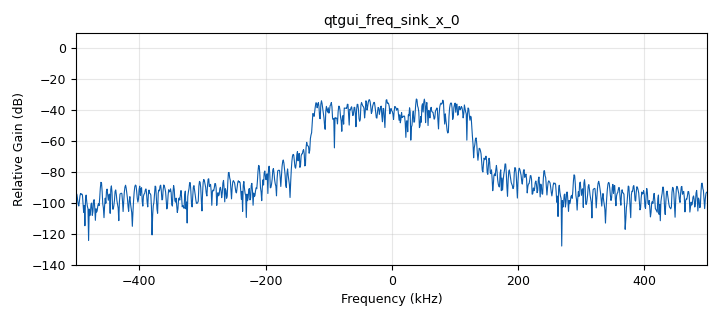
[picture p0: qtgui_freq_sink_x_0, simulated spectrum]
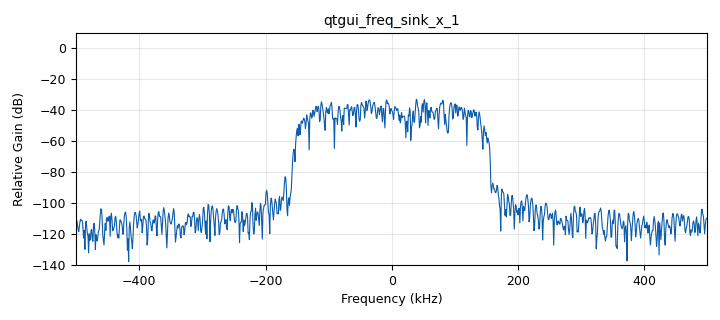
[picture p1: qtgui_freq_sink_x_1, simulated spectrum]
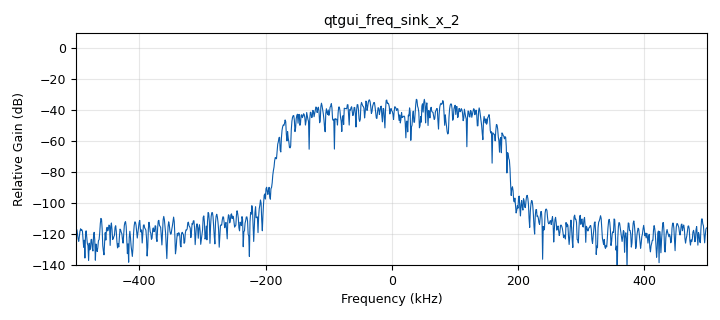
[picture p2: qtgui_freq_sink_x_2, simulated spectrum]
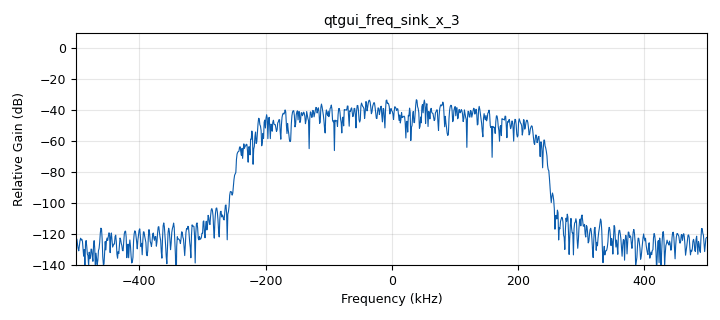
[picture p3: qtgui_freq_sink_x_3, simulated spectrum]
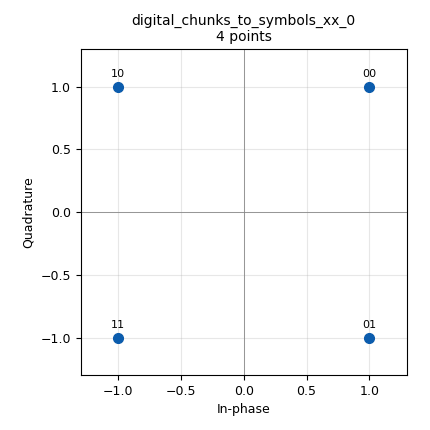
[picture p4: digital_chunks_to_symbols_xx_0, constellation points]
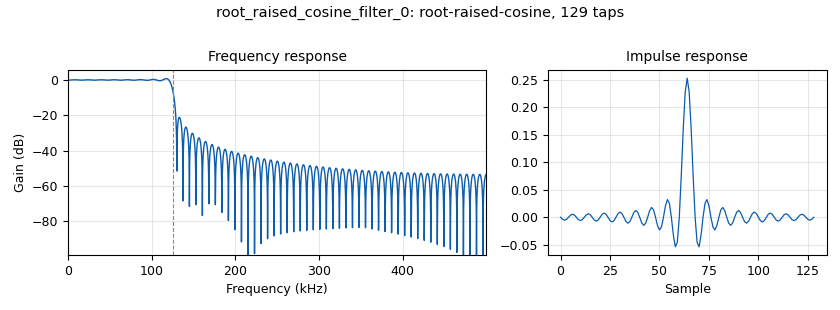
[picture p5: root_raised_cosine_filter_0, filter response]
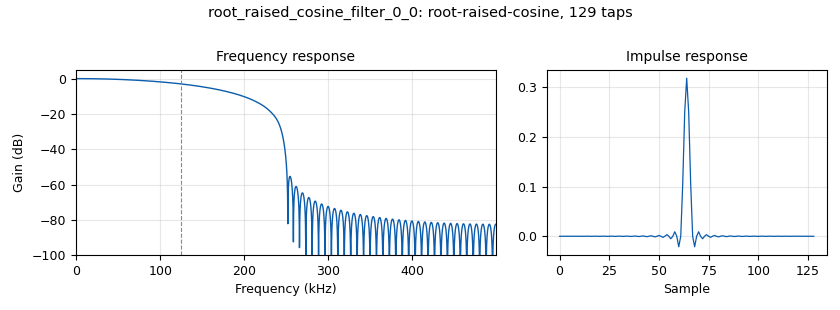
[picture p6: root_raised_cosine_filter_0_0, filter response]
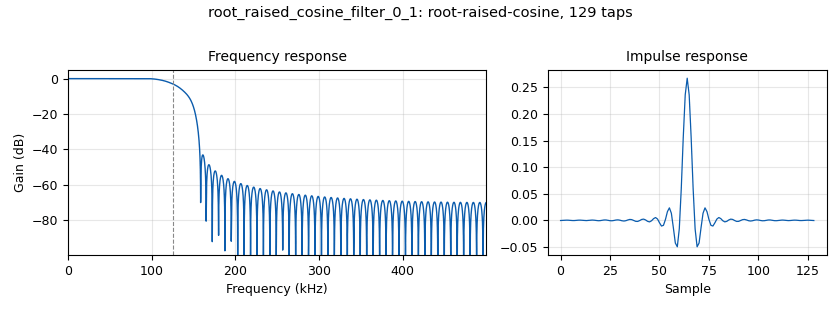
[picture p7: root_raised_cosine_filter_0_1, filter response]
options:
  parameters:
    generate_options: qt_gui
    id: QPSK_RRC
    output_language: python
    title: QPSK_RRC
  states: {}

blocks:
- name: excess_bw
  id: variable
  parameters:
    value: '0.1'
  states: {}
- name: samp_rate
  id: variable
  parameters:
    value: 1e6
  states: {}
- name: sps
  id: variable
  parameters:
    value: '4'
  states: {}
- name: sym_map
  id: variable
  parameters:
    value: '[1+1j,1-1j,-1+1j,-1-1j]'
  states: {}
- name: analog_random_source_x_0
  id: analog_random_source_x
  parameters:
    max: '4'
    min: '0'
    num_samps: '100000'
    repeat: 'True'
    type: byte
  states: {}
- name: blocks_char_to_float_2
  id: blocks_char_to_float
  parameters:
    scale: '1'
  states: {}
- name: blocks_float_to_int_0
  id: blocks_float_to_int
  parameters:
    scale: '1'
  states: {}
- name: blocks_throttle2_0_0
  id: blocks_throttle2
  parameters:
    samples_per_second: samp_rate/sps
    type: complex
  states: {}
- name: digital_chunks_to_symbols_xx_0
  id: digital_chunks_to_symbols_xx
  parameters:
    dimension: '1'
    in_type: int
    out_type: complex
    symbol_table: sym_map
  states: {}
- name: interp_fir_filter_xxx_0
  id: interp_fir_filter_xxx
  parameters:
    interp: sps
    taps: '[1,0,0,0]'
    type: ccc
  states: {}
- name: qtgui_eye_sink_x_0
  id: qtgui_eye_sink_x
  parameters:
    color2: red
    grid: 'True'
    gui_hint: 0,0,1,1
    label1: Real Delay 0
    label2: Imag Delay 0
    samp_per_symbol: sps
    size: '1024'
    srate: samp_rate
    type: complex
  states: {state: disabled}
- name: qtgui_eye_sink_x_0_0
  id: qtgui_eye_sink_x
  parameters:
    color2: red
    grid: 'True'
    gui_hint: 0,1,1,1
    label1: Real Delay 1
    label2: Imag Delay 1
    samp_per_symbol: sps
    size: '1024'
    srate: samp_rate
    type: complex
  states: {state: disabled}
- name: qtgui_eye_sink_x_0_1
  id: qtgui_eye_sink_x
  parameters:
    color2: red
    grid: 'True'
    gui_hint: 1,0,1,1
    label1: Real Delay 2
    label2: Imag Delay 2
    samp_per_symbol: sps
    size: '1024'
    srate: samp_rate
    type: complex
  states: {state: disabled}
- name: qtgui_eye_sink_x_0_2
  id: qtgui_eye_sink_x
  parameters:
    color2: red
    grid: 'True'
    gui_hint: 1,1,1,1
    label1: Real Delay 3
    label2: Imag Delay 3
    samp_per_symbol: sps
    size: '1024'
    srate: samp_rate
    type: complex
  states: {state: disabled}
- name: qtgui_freq_sink_x_0
  id: qtgui_freq_sink_x
  parameters:
    bw: samp_rate
    fc: '0'
    fftsize: '1024'
    gui_hint: 0,0,1,1
    type: complex
  states: {}
- name: qtgui_freq_sink_x_1
  id: qtgui_freq_sink_x
  parameters:
    bw: samp_rate
    fc: '0'
    fftsize: '1024'
    gui_hint: 0,1,1,1
    type: complex
  states: {}
- name: qtgui_freq_sink_x_2
  id: qtgui_freq_sink_x
  parameters:
    bw: samp_rate
    fc: '0'
    fftsize: '1024'
    gui_hint: 1,0,1,1
    type: complex
  states: {}
- name: qtgui_freq_sink_x_3
  id: qtgui_freq_sink_x
  parameters:
    bw: samp_rate
    fc: '0'
    fftsize: '1024'
    gui_hint: 1,1,1,1
    type: complex
  states: {}
- name: root_raised_cosine_filter_0
  id: root_raised_cosine_filter
  parameters:
    alpha: '0.001'
    decim: '1'
    gain: '1'
    ntaps: '128'
    samp_rate: samp_rate
    sym_rate: samp_rate/sps
    type: fir_filter_ccf
  states: {}
- name: root_raised_cosine_filter_0_0
  id: root_raised_cosine_filter
  parameters:
    alpha: '1'
    decim: '1'
    gain: '1'
    ntaps: '128'
    samp_rate: samp_rate
    sym_rate: samp_rate/sps
    type: fir_filter_ccf
  states: {}
- name: root_raised_cosine_filter_0_1
  id: root_raised_cosine_filter
  parameters:
    alpha: '0.25'
    decim: '1'
    gain: '1'
    ntaps: '128'
    samp_rate: samp_rate
    sym_rate: samp_rate/sps
    type: fir_filter_ccf
  states: {}
- name: root_raised_cosine_filter_0_2
  id: root_raised_cosine_filter
  parameters:
    alpha: '0.5'
    decim: '1'
    gain: '1'
    ntaps: '128'
    samp_rate: samp_rate
    sym_rate: samp_rate/sps
    type: fir_filter_ccf
  states: {}
- name: virtual_sink_0
  id: virtual_sink
  parameters:
    stream_id: send_symbol
  states: {}
- name: virtual_sink_2_0
  id: virtual_sink
  parameters:
    stream_id: send_receive
  states: {}
- name: virtual_source_0_0_1_0
  id: virtual_source
  parameters:
    stream_id: send_receive
  states: {}

connections:
- [analog_random_source_x_0, '0', blocks_char_to_float_2, '0']
- [blocks_char_to_float_2, '0', blocks_float_to_int_0, '0']
- [blocks_float_to_int_0, '0', digital_chunks_to_symbols_xx_0, '0']
- [blocks_throttle2_0_0, '0', interp_fir_filter_xxx_0, '0']
- [blocks_throttle2_0_0, '0', virtual_sink_0, '0']
- [digital_chunks_to_symbols_xx_0, '0', blocks_throttle2_0_0, '0']
- [interp_fir_filter_xxx_0, '0', virtual_sink_2_0, '0']
- [root_raised_cosine_filter_0, '0', qtgui_eye_sink_x_0, '0']
- [root_raised_cosine_filter_0, '0', qtgui_freq_sink_x_0, '0']
- [root_raised_cosine_filter_0_0, '0', qtgui_eye_sink_x_0_2, '0']
- [root_raised_cosine_filter_0_0, '0', qtgui_freq_sink_x_3, '0']
- [root_raised_cosine_filter_0_1, '0', qtgui_eye_sink_x_0_0, '0']
- [root_raised_cosine_filter_0_1, '0', qtgui_freq_sink_x_1, '0']
- [root_raised_cosine_filter_0_2, '0', qtgui_eye_sink_x_0_1, '0']
- [root_raised_cosine_filter_0_2, '0', qtgui_freq_sink_x_2, '0']
- [virtual_source_0_0_1_0, '0', root_raised_cosine_filter_0, '0']
- [virtual_source_0_0_1_0, '0', root_raised_cosine_filter_0_0, '0']
- [virtual_source_0_0_1_0, '0', root_raised_cosine_filter_0_1, '0']
- [virtual_source_0_0_1_0, '0', root_raised_cosine_filter_0_2, '0']

metadata:
  file_format: 1
  grc_version: 3.10.10.0
